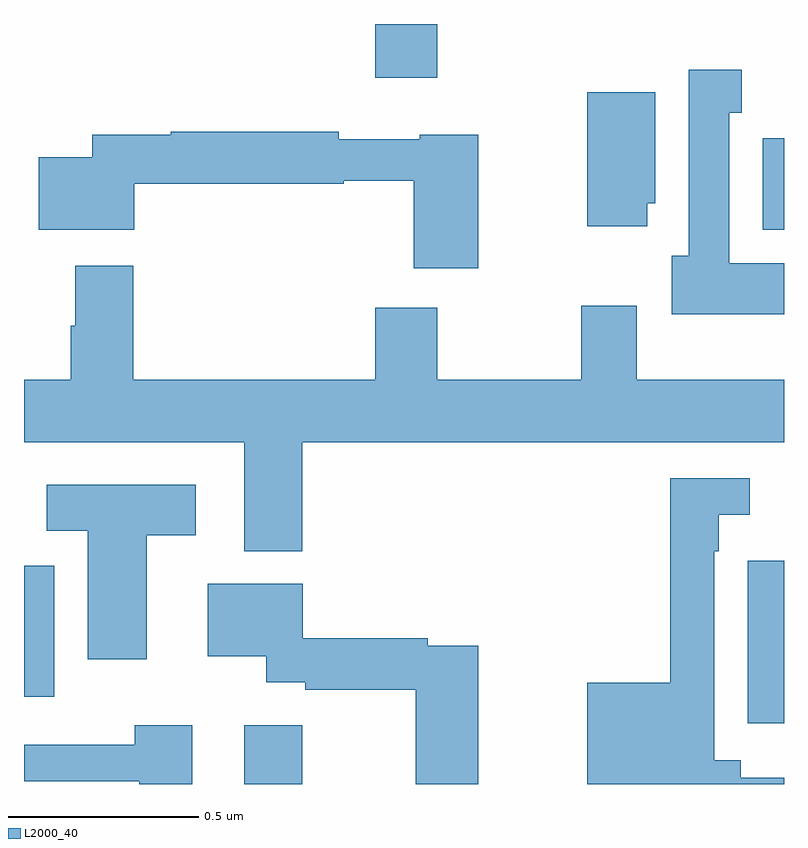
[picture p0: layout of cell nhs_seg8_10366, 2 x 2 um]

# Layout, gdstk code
import gdstk
lib = gdstk.Library(unit=1e-6, precision=1e-09)
def R(c, l, rs):  # rectangles x0, y0, x1, y1
    for r in rs: c.add(gdstk.rectangle(r[:2], r[2:], *l))
def P(c, l, *ps):  # polygons
    for p in ps: c.add(gdstk.Polygon(p, *l))
L2000_40 = (2000, 40)

nhs_seg8_10366 = lib.new_cell('nhs_seg8_10366')
R(nhs_seg8_10366, L2000_40, [(248.579,1148.9,248.732,1149.055), (249.905,1149.06,250,1149.487), (248,1149.129,248.08,1149.475), (249.944,1150.358,250,1150.6), (248.924,1150.758,249.088,1150.9), (249.465,1150.899,250,1150.9)])
P(nhs_seg8_10366, L2000_40, [(250,1150.27),(249.856,1150.27),(249.856,1150.667),(249.889,1150.667),(249.889,1150.78),(249.749,1150.78),(249.749,1150.29),(249.704,1150.29),(249.704,1150.136),(250,1150.136)],
  [(249.64,1150.428),(249.661,1150.428),(249.661,1150.72),(249.482,1150.72),(249.482,1150.368),(249.64,1150.368)],
  [(249.196,1150.609),(249.042,1150.609),(249.042,1150.597),(248.828,1150.597),(248.828,1150.616),(248.386,1150.616),(248.386,1150.609),(248.18,1150.609),(248.18,1150.549),(248.039,1150.549),(248.039,1150.358),(248.29,1150.358),(248.29,1150.48),(248.842,1150.48),(248.842,1150.488),(249.026,1150.488),(249.026,1150.257),(249.196,1150.257)],
  [(248.732,1149.8),(250,1149.8),(250,1149.964),(249.613,1149.964),(249.613,1150.159),(249.466,1150.159),(249.466,1149.964),(249.088,1149.964),(249.088,1150.153),(248.924,1150.153),(248.924,1149.964),(248.288,1149.964),(248.288,1150.264),(248.135,1150.264),(248.135,1150.106),(248.123,1150.106),(248.123,1149.964),(248,1149.964),(248,1149.8),(248.579,1149.8),(248.579,1149.512),(248.732,1149.512)],
  [(250,1148.916),(249.886,1148.916),(249.886,1148.962),(249.816,1148.962),(249.816,1149.512),(249.828,1149.512),(249.828,1149.609),(249.91,1149.609),(249.91,1149.705),(249.7,1149.705),(249.7,1149.166),(249.482,1149.166),(249.482,1148.9),(250,1148.9)],
  [(248.323,1149.554),(248.452,1149.554),(248.452,1149.688),(248.06,1149.688),(248.06,1149.566),(248.168,1149.566),(248.168,1149.228),(248.323,1149.228)],
  [(249.196,1149.264),(249.062,1149.264),(249.062,1149.284),(248.733,1149.284),(248.733,1149.427),(248.483,1149.427),(248.483,1149.236),(248.637,1149.236),(248.637,1149.168),(248.74,1149.168),(248.74,1149.148),(249.031,1149.148),(249.031,1148.9),(249.196,1148.9)],
  [(248.443,1149.055),(248.291,1149.055),(248.291,1149.003),(248,1149.003),(248,1148.907),(248.303,1148.907),(248.303,1148.9),(248.443,1148.9)])

lib.write_gds('nhs_seg8_10366.gds')
